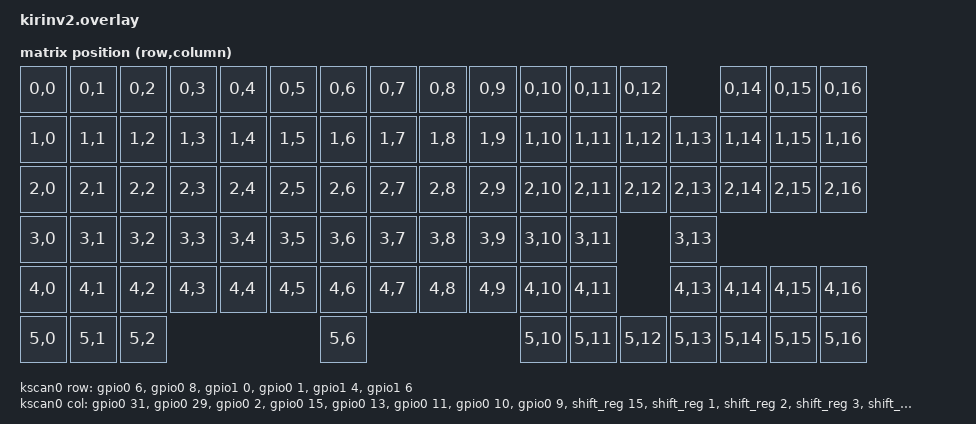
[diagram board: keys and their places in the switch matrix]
#include <dt-bindings/zmk/matrix_transform.h>
#include <physical_layouts.dtsi>

&spi1 {
    status = "okay";
    cs-gpios = <&gpio0 24 GPIO_ACTIVE_LOW>;

    shift_reg: 74HC595@0 {
        compatible = "zmk,gpio-595";
        status = "okay";
        gpio-controller;
        spi-max-frequency = <200000>;
        reg = <0>;
        #gpio-cells = <2>;
        ngpios = <8>;
    };
};

/ {
    chosen {
        zmk,physical-layout = &default_layout;
    };

    default_layout: default_layout {
        compatible = "zmk,physical-layout";
        display-name = "Base";
        kscan = <&kscan0>;
        transform = <&matrix_transform0>;

        keys  //                     w   h    x    y     rot    rx    ry
            = <&key_physical_attrs 100 100    0    0       0     0     0>
            , <&key_physical_attrs 100 100  200    0       0     0     0>
            , <&key_physical_attrs 100 100  300    0       0     0     0>
            , <&key_physical_attrs 100 100  400    0       0     0     0>
            , <&key_physical_attrs 100 100  500    0       0     0     0>
            , <&key_physical_attrs 100 100  650    0       0     0     0>
            , <&key_physical_attrs 100 100  750    0       0     0     0>
            , <&key_physical_attrs 100 100  850    0       0     0     0>
            , <&key_physical_attrs 100 100  950    0       0     0     0>
            , <&key_physical_attrs 100 100 1100    0       0     0     0>
            , <&key_physical_attrs 100 100 1200    0       0     0     0>
            , <&key_physical_attrs 100 100 1300    0       0     0     0>
            , <&key_physical_attrs 100 100 1400    0       0     0     0>
            , <&key_physical_attrs 100 100 1525    0       0     0     0>
            , <&key_physical_attrs 100 100 1625    0       0     0     0>
            , <&key_physical_attrs 100 100 1725    0       0     0     0>
            , <&key_physical_attrs 100 100    0  150       0     0     0>
            , <&key_physical_attrs 100 100  100  150       0     0     0>
            , <&key_physical_attrs 100 100  200  150       0     0     0>
            , <&key_physical_attrs 100 100  300  150       0     0     0>
            , <&key_physical_attrs 100 100  400  150       0     0     0>
            , <&key_physical_attrs 100 100  500  150       0     0     0>
            , <&key_physical_attrs 100 100  600  150       0     0     0>
            , <&key_physical_attrs 100 100  700  150       0     0     0>
            , <&key_physical_attrs 100 100  800  150       0     0     0>
            , <&key_physical_attrs 100 100  900  150       0     0     0>
            , <&key_physical_attrs 100 100 1000  150       0     0     0>
            , <&key_physical_attrs 100 100 1100  150       0     0     0>
            , <&key_physical_attrs 100 100 1200  150       0     0     0>
            , <&key_physical_attrs 200 100 1300  150       0     0     0>
            , <&key_physical_attrs 100 100 1525  150       0     0     0>
            , <&key_physical_attrs 100 100 1625  150       0     0     0>
            , <&key_physical_attrs 100 100 1725  150       0     0     0>
            , <&key_physical_attrs 150 100    0  250       0     0     0>
            , <&key_physical_attrs 100 100  150  250       0     0     0>
            , <&key_physical_attrs 100 100  250  250       0     0     0>
            , <&key_physical_attrs 100 100  350  250       0     0     0>
            , <&key_physical_attrs 100 100  450  250       0     0     0>
            , <&key_physical_attrs 100 100  550  250       0     0     0>
            , <&key_physical_attrs 100 100  650  250       0     0     0>
            , <&key_physical_attrs 100 100  750  250       0     0     0>
            , <&key_physical_attrs 100 100  850  250       0     0     0>
            , <&key_physical_attrs 100 100  950  250       0     0     0>
            , <&key_physical_attrs 100 100 1050  250       0     0     0>
            , <&key_physical_attrs 100 100 1150  250       0     0     0>
            , <&key_physical_attrs 100 100 1250  250       0     0     0>
            , <&key_physical_attrs 150 100 1350  250       0     0     0>
            , <&key_physical_attrs 100 100 1525  250       0     0     0>
            , <&key_physical_attrs 100 100 1625  250       0     0     0>
            , <&key_physical_attrs 100 100 1725  250       0     0     0>
            , <&key_physical_attrs 175 100    0  350       0     0     0>
            , <&key_physical_attrs 100 100  175  350       0     0     0>
            , <&key_physical_attrs 100 100  275  350       0     0     0>
            , <&key_physical_attrs 100 100  375  350       0     0     0>
            , <&key_physical_attrs 100 100  475  350       0     0     0>
            , <&key_physical_attrs 100 100  575  350       0     0     0>
            , <&key_physical_attrs 100 100  675  350       0     0     0>
            , <&key_physical_attrs 100 100  775  350       0     0     0>
            , <&key_physical_attrs 100 100  875  350       0     0     0>
            , <&key_physical_attrs 100 100  975  350       0     0     0>
            , <&key_physical_attrs 100 100 1075  350       0     0     0>
            , <&key_physical_attrs 100 100 1175  350       0     0     0>
            , <&key_physical_attrs 225 100 1275  350       0     0     0>
            , <&key_physical_attrs 225 100    0  450       0     0     0>
            , <&key_physical_attrs 100 100  225  450       0     0     0>
            , <&key_physical_attrs 100 100  325  450       0     0     0>
            , <&key_physical_attrs 100 100  425  450       0     0     0>
            , <&key_physical_attrs 100 100  525  450       0     0     0>
            , <&key_physical_attrs 100 100  625  450       0     0     0>
            , <&key_physical_attrs 100 100  725  450       0     0     0>
            , <&key_physical_attrs 100 100  825  450       0     0     0>
            , <&key_physical_attrs 100 100  925  450       0     0     0>
            , <&key_physical_attrs 100 100 1025  450       0     0     0>
            , <&key_physical_attrs 100 100 1125  450       0     0     0>
            , <&key_physical_attrs 275 100 1225  450       0     0     0>
            , <&key_physical_attrs 100 100 1625  450       0     0     0>
            , <&key_physical_attrs 125 100    0  550       0     0     0>
            , <&key_physical_attrs 125 100  125  550       0     0     0>
            , <&key_physical_attrs 125 100  250  550       0     0     0>
            , <&key_physical_attrs 625 100  375  550       0     0     0>
            , <&key_physical_attrs 125 100 1000  550       0     0     0>
            , <&key_physical_attrs 125 100 1125  550       0     0     0>
            , <&key_physical_attrs 125 100 1250  550       0     0     0>
            , <&key_physical_attrs 125 100 1375  550       0     0     0>
            , <&key_physical_attrs 100 100 1525  550       0     0     0>
            , <&key_physical_attrs 100 100 1625  550       0     0     0>
            , <&key_physical_attrs 100 100 1725  550       0     0     0>
            ;
    };

    kscan0: kscan {
        compatible = "zmk,kscan-gpio-matrix";
        wakeup-source;

        diode-direction = "col2row";

        col-gpios
            = <&gpio0 31 (GPIO_ACTIVE_HIGH )>
            , <&gpio0 29 (GPIO_ACTIVE_HIGH )>
            , <&gpio0 2 (GPIO_ACTIVE_HIGH )>
            , <&gpio0 15 (GPIO_ACTIVE_HIGH )>
            , <&gpio0 13 (GPIO_ACTIVE_HIGH )>
            , <&gpio0 11 (GPIO_ACTIVE_HIGH )>
            , <&gpio0 10 (GPIO_ACTIVE_HIGH )>
            , <&gpio0 9 (GPIO_ACTIVE_HIGH )>
            , <&shift_reg 15 (GPIO_ACTIVE_HIGH)>
            , <&shift_reg 1 (GPIO_ACTIVE_HIGH)>
            , <&shift_reg 2 (GPIO_ACTIVE_HIGH)>
            , <&shift_reg 3 (GPIO_ACTIVE_HIGH)>
            , <&shift_reg 4 (GPIO_ACTIVE_HIGH)>
            , <&gpio1 1 (GPIO_ACTIVE_HIGH )>
            , <&shift_reg 5 (GPIO_ACTIVE_HIGH)>
            , <&shift_reg 6 (GPIO_ACTIVE_HIGH)>
            , <&shift_reg 7 (GPIO_ACTIVE_HIGH)>
            ;

        row-gpios
            = <&gpio0 6 (GPIO_ACTIVE_HIGH | GPIO_PULL_DOWN)>
            , <&gpio0 8 (GPIO_ACTIVE_HIGH | GPIO_PULL_DOWN)>
            , <&gpio1 0 (GPIO_ACTIVE_HIGH | GPIO_PULL_DOWN)>
            , <&gpio0 1 (GPIO_ACTIVE_HIGH | GPIO_PULL_DOWN)>
            , <&gpio1 4 (GPIO_ACTIVE_HIGH | GPIO_PULL_DOWN)>
            , <&gpio1 6 (GPIO_ACTIVE_HIGH | GPIO_PULL_DOWN)>
            ;
    };

    default_transform: keymap_transform_0 {
        compatible = "zmk,matrix-transform";
        columns = <16>;
        rows = <6>;
        map = <
            RC(0,0)  RC(0,1)  RC(0,2)  RC(0,3)  RC(0,4)  RC(0,5)  RC(0,6)  RC(0,7)  RC(0,8)  RC(0,9)  RC(0,10)  RC(0,11)  RC(0,12)            RC(0,14)  RC(0,15)  RC(0,16)
            RC(1,0)  RC(1,1)  RC(1,2)  RC(1,3)  RC(1,4)  RC(1,5)  RC(1,6)  RC(1,7)  RC(1,8)  RC(1,9)  RC(1,10)  RC(1,11)  RC(1,12)  RC(1,13)  RC(1,14)  RC(1,15)  RC(1,16)
            RC(2,0)  RC(2,1)  RC(2,2)  RC(2,3)  RC(2,4)  RC(2,5)  RC(2,6)  RC(2,7)  RC(2,8)  RC(2,9)  RC(2,10)  RC(2,11)  RC(2,12)  RC(2,13)  RC(2,14)  RC(2,15)  RC(2,16)
            RC(3,0)  RC(3,1)  RC(3,2)  RC(3,3)  RC(3,4)  RC(3,5)  RC(3,6)  RC(3,7)  RC(3,8)  RC(3,9)  RC(3,10)  RC(3,11)            RC(3,13)                              
            RC(4,0)  RC(4,1)  RC(4,2)  RC(4,3)  RC(4,4)  RC(4,5)  RC(4,6)  RC(4,7)  RC(4,8)  RC(4,9)  RC(4,10)  RC(4,11)            RC(4,13)  RC(4,14)  RC(4,15)  RC(4,16)
            RC(5,0)  RC(5,1)  RC(5,2)                             RC(5,6)                             RC(5,10)  RC(5,11)  RC(5,12)  RC(5,13)  RC(5,14)  RC(5,15)  RC(5,16)
    >; 
    }; 
};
